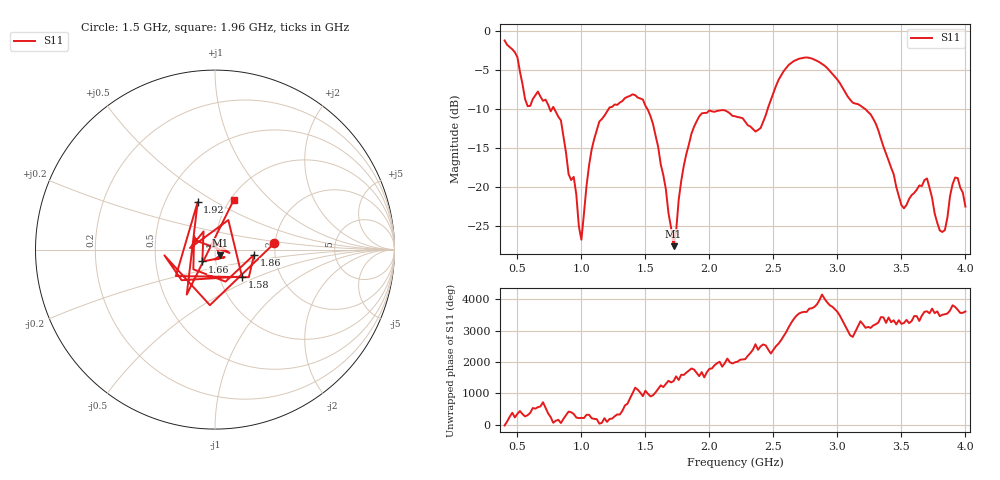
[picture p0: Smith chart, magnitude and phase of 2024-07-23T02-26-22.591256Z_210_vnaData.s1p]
!Created with skrf (http://scikit-rf.org).
# Hz S RI R 50.0
!freq ReS11 ImS11
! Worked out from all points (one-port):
!   181 points, 400 MHz to 4 GHz, reference 50 ohm
!   lowest |S11| = -27.5 dB at 1.72 GHz (marker M1), VSWR 1.09, Z = 52.8 - j3.32 ohm
!   |S11| at or under -10 dB: 788 MHz to 1.213 GHz (425 MHz wide, 42.5 % of centre); 1.515 GHz to 2.455 GHz (940.7 MHz wide, 47.4 % of centre); 3.216 GHz to end of sweep (the widest 3 of 4)
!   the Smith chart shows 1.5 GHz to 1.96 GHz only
!   S11 on the Smith chart (normalised r, x): 1.5 GHz: 1.98, +0.15; 1.58 GHz: 1.28, -0.40; 1.66 GHz: 0.86, -0.12; 1.86 GHz: 1.55, -0.09; 1.92 GHz: 0.72, +0.42; 1.96 GHz: 1.04, +0.63
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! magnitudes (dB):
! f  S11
! 400 MHz  -1.3
! 500 MHz  -3.4
! 580 MHz  -9.7
! 660 MHz  -7.8
! 860 MHz  -13.6
! 940 MHz  -18.7
! 1 GHz  -26.7
! 1.1 GHz  -13.8
! 1.3 GHz  -9.2
! 1.5 GHz  -9.6
! 1.58 GHz  -13.5
! 1.66 GHz  -20.3
! 1.72 GHz  -27.5
! 1.76 GHz  -21.6
! 1.86 GHz  -13.2
! 1.92 GHz  -11.0
! 1.96 GHz  -10.5
! 2.2 GHz  -10.9
! 2.4 GHz  -12.4
! 2.66 GHz  -3.9
! 3.1 GHz  -8.8
! 3.26 GHz  -10.7
! 3.5 GHz  -22.3
! 3.56 GHz  -21.5
! 3.7 GHz  -18.9
! 3.82 GHz  -25.7
! 3.92 GHz  -18.8
! 4 GHz  -22.5
